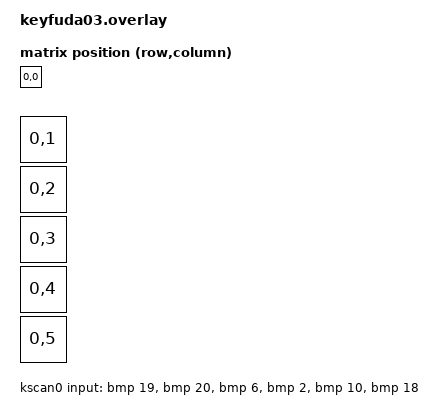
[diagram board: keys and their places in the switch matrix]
#include <physical_layouts.dtsi>
#include <dt-bindings/zmk/matrix_transform.h>

/ {
    chosen {
        zmk,physical-layout = &keyfuda03_physical_layout;
    };
    keyfuda03_physical_layout: roba_physical_layout {
        compatible = "zmk,physical-layout";
        display-name = "Default";
        transform = <&default_transform>;
        kscan = <&kscan0>;

        keys  //                    w   h    x    y     rot    rx    ry
            =<&key_physical_attrs  50  50    0    0       0     0     0>
            ,<&key_physical_attrs 100 100    0  100       0     0     0>
            ,<&key_physical_attrs 100 100    0  200       0     0     0>
            ,<&key_physical_attrs 100 100    0  300       0     0     0>
            ,<&key_physical_attrs 100 100    0  400       0     0     0>
            ,<&key_physical_attrs 100 100    0  500       0     0     0>
            ;
    };
    default_transform: keymap_transform_0 {
        compatible = "zmk,matrix-transform";
        columns = <1>;
        rows = <6>;
        map = <
            RC(0,0)
            RC(0,1)
            RC(0,2)
            RC(0,3)
            RC(0,4)
            RC(0,5)
        >;
    };
    kscan0: kscan {
        compatible = "zmk,kscan-gpio-direct";
        wakeup-source;
        input-gpios
            = <&bmp 19 (GPIO_ACTIVE_LOW | GPIO_PULL_UP)>
            , <&bmp 20 (GPIO_ACTIVE_LOW | GPIO_PULL_UP)>
            , <&bmp 6 (GPIO_ACTIVE_LOW | GPIO_PULL_UP)>
            , <&bmp 2 (GPIO_ACTIVE_LOW | GPIO_PULL_UP)>
            , <&bmp 10 (GPIO_ACTIVE_LOW | GPIO_PULL_UP)>
            , <&bmp 18 (GPIO_ACTIVE_LOW | GPIO_PULL_UP)>
            ;
    };
}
